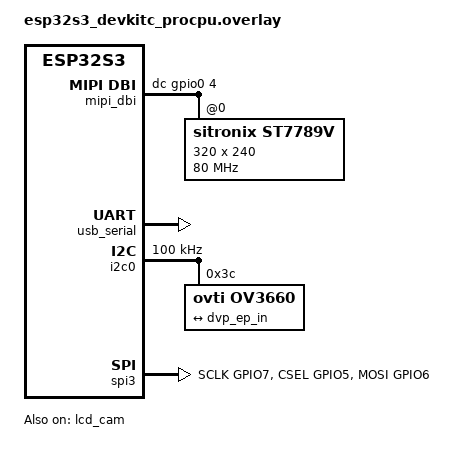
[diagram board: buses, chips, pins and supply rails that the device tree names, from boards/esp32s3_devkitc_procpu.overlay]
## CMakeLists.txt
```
cmake_minimum_required(VERSION 3.20.0)

find_package(Zephyr REQUIRED HINTS $ENV{ZEPHYR_BASE})
project(camera_test)

target_sources(app PRIVATE src/main.c)
```

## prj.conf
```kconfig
CONFIG_CONSOLE=y
CONFIG_SERIAL=y
CONFIG_PRINTK=y
CONFIG_GPIO=y

CONFIG_I2C=y
CONFIG_SPI=y
CONFIG_VIDEO=y
CONFIG_DISPLAY=y
CONFIG_LOG=y
CONFIG_MIPI_DBI=y
CONFIG_VIDEO_BUFFER_POOL_NUM_MAX=2
CONFIG_VIDEO_BUFFER_POOL_ALIGN=32
CONFIG_VIDEO_BUFFER_USE_SHARED_MULTI_HEAP=y
CONFIG_VIDEO_BUFFER_SMH_ATTRIBUTE=2
CONFIG_DMA_ESP32_MAX_DESCRIPTOR_NUM=64
CONFIG_VIDEO_ESP32_DMA_BUFFER_MAX_SIZE=4092
CONFIG_VIDEO_OV3660_COLOR_BAR_TEST=n

CONFIG_MAIN_STACK_SIZE=4096
```

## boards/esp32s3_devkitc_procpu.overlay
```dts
/* CHD-ESP32-S3-BOX: OV3660 capture + ST7789V LCD preview */

#include <zephyr/dt-bindings/mipi_dbi/mipi_dbi.h>
#include <zephyr/dt-bindings/pinctrl/esp32s3-pinctrl.h>

/ {
	chosen {
		zephyr,console = &usb_serial;
		zephyr,shell-uart = &usb_serial;
		zephyr,camera = &lcd_cam;
		zephyr,display = &st7789v;
	};

	mipi_dbi {
		compatible = "zephyr,mipi-dbi-spi";
		dc-gpios = <&gpio0 4 GPIO_ACTIVE_HIGH>;
		spi-dev = <&spi3>;
		write-only;
		#address-cells = <1>;
		#size-cells = <0>;

		st7789v: st7789v@0 {
			compatible = "sitronix,st7789v";
			mipi-max-frequency = <80000000>;
			reg = <0>;
			width = <320>;
			height = <240>;
			x-offset = <0>;
			y-offset = <0>;
			vcom = <0x19>;
			gctrl = <0x35>;
			vrhs = <0x12>;
			vdvs = <0x20>;
			mdac = <0x60>;
			gamma = <0x01>;
			colmod = <0x55>;
			lcm = <0x2c>;
			porch-param = [0c 0c 00 33 33];
			cmd2en-param = [5a 69 02 01];
			pwctrl1-param = [a4 a1];
			pvgam-param = [D0 04 0D 11 13 2B 3F 54 4C 18 0D 0B 1F 23];
			nvgam-param = [D0 04 0C 11 13 2C 3F 44 51 2F 1F 1F 20 23];
			ram-param = [00 F0];
			rgb-param = [CD 08 14];
			mipi-mode = "MIPI_DBI_MODE_SPI_4WIRE";
			inversion-off;
		};
	};
};

&usb_serial {
	status = "okay";
};

&pinctrl {
	i2c0_default: i2c0_default {
		group1 {
			pinmux = <I2C0_SDA_GPIO8>,
				 <I2C0_SCL_GPIO18>;
			bias-pull-up;
			drive-open-drain;
			output-high;
		};
	};

	lcd_cam_default: lcd_cam_default {
		group1 {
			pinmux = <LCD_CAM_CAM_CLK_GPIO39>;
			output-enable;
		};

		group2 {
			pinmux = <LCD_CAM_V_SYNC_CAM_GPIO42>,
				 <LCD_CAM_H_ENABLE_CAM_GPIO41>,
				 <LCD_CAM_CAM_PCLK_GPIO14>,
				 <LCD_CAM_DATA_IN0_GPIO12>,
				 <LCD_CAM_DATA_IN1_GPIO10>,
				 <LCD_CAM_DATA_IN2_GPIO9>,
				 <LCD_CAM_DATA_IN3_GPIO11>,
				 <LCD_CAM_DATA_IN4_GPIO13>,
				 <LCD_CAM_DATA_IN5_GPIO21>,
				 <LCD_CAM_DATA_IN6_GPIO38>,
				 <LCD_CAM_DATA_IN7_GPIO40>;
			input-enable;
			bias-disable;
		};
	};

	spim3_default: spim3_default {
		group1 {
			pinmux = <SPIM3_SCLK_GPIO7>,
				 <SPIM3_CSEL_GPIO5>;
		};

		group2 {
			pinmux = <SPIM3_MOSI_GPIO6>;
			output-low;
		};
	};
};

&i2c0 {
	status = "okay";
	clock-frequency = <I2C_BITRATE_STANDARD>;
	pinctrl-0 = <&i2c0_default>;
	pinctrl-names = "default";

	ov3660: ov3660@3c {
		compatible = "ovti,ov3660";
		reg = <0x3c>;
		status = "okay";

		port {
			ov3660_ep_out: endpoint {
				remote-endpoint = <&dvp_ep_in>;
			};
		};
	};
};


&spi3 {
	#address-cells = <1>;
	#size-cells = <0>;
	status = "okay";
	pinctrl-0 = <&spim3_default>;
	pinctrl-names = "default";
};


&dma {
	status = "okay";
	};

&lcd_cam {
	status = "okay";
	cam-clk = <16000000>;
	pinctrl-0 = <&lcd_cam_default>;
	pinctrl-names = "default";
	source = <&ov3660>;
	dmas = <&dma 2>;
	dma-names = "rx";

	port {
		dvp_ep_in: endpoint {
			remote-endpoint = <&ov3660_ep_out>;
		};
	};
};
```

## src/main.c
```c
#include <zephyr/device.h>
#include <zephyr/drivers/display.h>
#include <zephyr/drivers/gpio.h>
#include <zephyr/drivers/video.h>
#include <zephyr/kernel.h>
#include <zephyr/sys/printk.h>

#if !DT_HAS_CHOSEN(zephyr_camera)
#error Missing zephyr,camera chosen node
#endif

#define FRAME_WIDTH 320
#define FRAME_HEIGHT 240
#define FRAME_BYTES (FRAME_WIDTH * FRAME_HEIGHT * 2)
#define FRAME_BUFFER_COUNT 2
#define BLK_PIN (47 - 32)
#define DISPLAY_STACK_SIZE 4096

static struct video_buffer *frame_buffers[FRAME_BUFFER_COUNT];

/* Display thread: receives frames via message queue, writes to LCD, re-enqueues */
K_MSGQ_DEFINE(display_msgq, sizeof(struct video_buffer *), 1, sizeof(void *));
static K_THREAD_STACK_DEFINE(display_stack, DISPLAY_STACK_SIZE);
static struct k_thread display_thread_data;

struct display_ctx {
	const struct device *display_dev;
	const struct device *camera_dev;
	struct video_format *fmt;
};

static void log_frame_samples(const struct video_buffer *vbuf, const struct video_format *fmt,
			      uint32_t frame)
{
	static const uint16_t sample_x[] = {0, 80, 160, 240};
	uint32_t row_offset = (fmt->height / 2U) * fmt->pitch;

	printk("frame %u mid-row raw:", frame);
	for (size_t index = 0; index < ARRAY_SIZE(sample_x); index++) {
		uint32_t pixel_offset = row_offset + (sample_x[index] * 2U);
		uint32_t pair_offset = pixel_offset & ~0x3U;

		printk(" x%u=%02x %02x %02x %02x",
		       sample_x[index],
		       vbuf->buffer[pair_offset],
		       vbuf->buffer[pair_offset + 1U],
		       vbuf->buffer[pair_offset + 2U],
		       vbuf->buffer[pair_offset + 3U]);
	}
	printk("\n");
}

static int display_camera_frame(const struct device *display_dev,
				      const struct video_buffer *vbuf,
				      const struct video_format *fmt)
{
	struct display_buffer_descriptor desc = {
		.buf_size = vbuf->bytesused,
		.width = fmt->width,
		.pitch = fmt->width,
		.height = vbuf->bytesused / fmt->pitch,
	};

	return display_write(display_dev, 0, vbuf->line_offset, &desc, vbuf->buffer);
}

/* Display thread: dequeues frame from msgq, writes to LCD, re-enqueues to camera */
static void display_thread_entry(void *p1, void *p2, void *p3)
{
	struct display_ctx *ctx = p1;
	struct video_buffer *buf;
	int ret;

	while (1) {
		ret = k_msgq_get(&display_msgq, &buf, K_FOREVER);
		if (ret < 0) {
			printk("display msgq get failed: %d\n", ret);
			break;
		}

		ret = display_camera_frame(ctx->display_dev, buf, ctx->fmt);
		if (ret < 0) {
			printk("display_write failed: %d\n", ret);
		}

		ret = video_enqueue(ctx->camera_dev, buf);
		if (ret < 0) {
			printk("display re-enqueue failed: %d\n", ret);
			break;
		}
	}
}

int main(void)
{
	const struct device *const camera_dev = DEVICE_DT_GET(DT_CHOSEN(zephyr_camera));
	const struct device *const display_dev = DEVICE_DT_GET(DT_CHOSEN(zephyr_display));
	const struct device *const gpio1_dev = DEVICE_DT_GET(DT_NODELABEL(gpio1));
	struct video_format fmt = {
		.type = VIDEO_BUF_TYPE_OUTPUT,
		.pixelformat = VIDEO_PIX_FMT_RGB565,
		.width = FRAME_WIDTH,
		.height = FRAME_HEIGHT,
		.pitch = FRAME_WIDTH * 2,
	};
	static struct display_ctx disp_ctx;
	struct video_caps caps = {0};
	struct video_buffer *captured = NULL;
	int ret;

	printk("\n*** CHD-ESP32-S3-BOX OV3660 Parallel Double-Buffer ***\n");

	if (!device_is_ready(camera_dev)) {
		printk("camera device not ready\n");
		return 0;
	}

	if (!device_is_ready(display_dev)) {
		printk("display device not ready\n");
		return 0;
	}

	if (device_is_ready(gpio1_dev)) {
		gpio_pin_configure(gpio1_dev, BLK_PIN, GPIO_OUTPUT_ACTIVE);
		gpio_pin_set(gpio1_dev, BLK_PIN, 1);
	}

	display_blanking_off(display_dev);

	ret = video_get_caps(camera_dev, &caps);
	if (ret < 0) {
		printk("video_get_caps failed: %d\n", ret);
		return 0;
	}

	if (caps.min_vbuf_count > FRAME_BUFFER_COUNT) {
		printk("camera requires %u buffers, app only provides %u\n",
			caps.min_vbuf_count, FRAME_BUFFER_COUNT);
		return 0;
	}

	ret = video_set_format(camera_dev, &fmt);
	if (ret < 0) {
		printk("video_set_format failed: %d\n", ret);
		return 0;
	}

	ret = video_get_format(camera_dev, &fmt);
	if (ret < 0) {
		printk("video_get_format failed: %d\n", ret);
		return 0;
	}

	printk("capture format: %c%c%c%c %ux%u pitch=%u\n",
		(char)(fmt.pixelformat & 0xff),
		(char)((fmt.pixelformat >> 8) & 0xff),
		(char)((fmt.pixelformat >> 16) & 0xff),
		(char)((fmt.pixelformat >> 24) & 0xff),
		fmt.width, fmt.height, fmt.pitch);

	for (int index = 0; index < FRAME_BUFFER_COUNT; index++) {
		frame_buffers[index] = video_buffer_aligned_alloc(
			FRAME_BYTES, CONFIG_VIDEO_BUFFER_POOL_ALIGN, K_FOREVER);
		if (frame_buffers[index] == NULL) {
			printk("video buffer alloc failed at %d\n", index);
			return 0;
		}

		frame_buffers[index]->type = VIDEO_BUF_TYPE_OUTPUT;

		ret = video_enqueue(camera_dev, frame_buffers[index]);
		if (ret < 0) {
			printk("video_enqueue failed at %d: %d\n", index, ret);
			return 0;
		}
	}

	/* Start display thread before camera stream */
	disp_ctx.display_dev = display_dev;
	disp_ctx.camera_dev = camera_dev;
	disp_ctx.fmt = &fmt;

	k_thread_create(&display_thread_data, display_stack, DISPLAY_STACK_SIZE,
			display_thread_entry, &disp_ctx, NULL, NULL,
			K_PRIO_COOP(7), 0, K_NO_WAIT);
	k_thread_name_set(&display_thread_data, "display");

	ret = video_stream_start(camera_dev, VIDEO_BUF_TYPE_OUTPUT);
	if (ret < 0) {
		printk("video_stream_start failed: %d\n", ret);
		return 0;
	}

	printk("stream started (parallel double-buffer)\n");

	for (uint32_t frame = 0; ; frame++) {
		ret = video_dequeue(camera_dev, &captured, K_FOREVER);
		if (ret < 0) {
			printk("frame dequeue failed: %d\n", ret);
			break;
		}

		if ((frame % 30U) == 0U) {
			printk("frame %u captured: %u bytes ts=%u\n",
				frame, captured->bytesused, captured->timestamp);
			log_frame_samples(captured, &fmt, frame);
		}

		/* Hand buffer to display thread; camera can capture into the other buffer */
		ret = k_msgq_put(&display_msgq, &captured, K_FOREVER);
		if (ret < 0) {
			printk("display msgq put failed: %d\n", ret);
			video_enqueue(camera_dev, captured);
		}
	}

	video_stream_stop(camera_dev, VIDEO_BUF_TYPE_OUTPUT);
	printk("stream stopped\n");

	for (int index = 0; index < FRAME_BUFFER_COUNT; index++) {
		if (frame_buffers[index] != NULL) {
			video_buffer_release(frame_buffers[index]);
			frame_buffers[index] = NULL;
		}
	}

	return 0;
}
```
